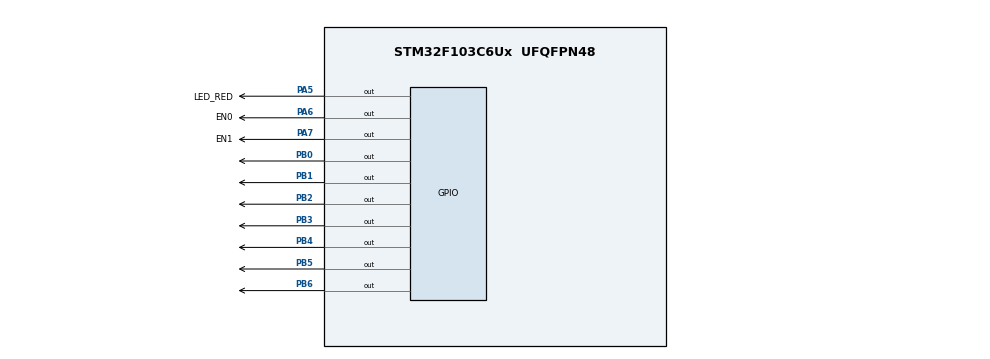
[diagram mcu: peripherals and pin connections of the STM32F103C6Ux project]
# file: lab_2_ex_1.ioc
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Mcu.Family=STM32F1
Mcu.Name=STM32F103C6Ux
Mcu.Package=UFQFPN48
NVIC.PriorityGroup=NVIC_PRIORITYGROUP_4
NVIC.TIM2_IRQn=true\:0\:0\:false\:false\:true\:true\:true\:true
PA5.GPIO_Label=LED_RED
PA5.Signal=GPIO_Output
PA6.GPIO_Label=EN0
PA6.Signal=GPIO_Output
PA7.GPIO_Label=EN1
PA7.Signal=GPIO_Output
PB0.Signal=GPIO_Output
PB1.Signal=GPIO_Output
PB2.Signal=GPIO_Output
PB3.Signal=GPIO_Output
PB4.Signal=GPIO_Output
PB5.Signal=GPIO_Output
PB6.Signal=GPIO_Output
ProjectManager.HeapSize=0x200
ProjectManager.StackSize=0x400
ProjectManager.TargetToolchain=STM32CubeIDE
RCC.APB1Freq_Value=8000000
RCC.APB2Freq_Value=8000000
TIM2.Period=9
TIM2.Prescaler=7999
VP_TIM2_VS_ClockSourceINT.Mode=Internal
board=custom

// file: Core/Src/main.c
/* USER CODE BEGIN Header */
/**
  ******************************************************************************
  * @file           : main.c
  * @brief          : Main program body
  ******************************************************************************
  * @attention
  *
  * Copyright (c) 2024 STMicroelectronics.
  * All rights reserved.
  *
  * This software is licensed under terms that can be found in the LICENSE file
  * in the root directory of this software component.
  * If no LICENSE file comes with this software, it is provided AS-IS.
  *
  ******************************************************************************
  */
/* USER CODE END Header */
#include "main.h"

TIM_HandleTypeDef htim2;

void SystemClock_Config(void);
static void MX_GPIO_Init(void);
static void MX_TIM2_Init(void);
/* USER CODE BEGIN PFP */
void display7SEG(int num);
/* USER CODE END PFP */

int main(void)
{

  /* MCU Configuration--------------------------------------------------------*/

  /* Reset of all peripherals, Initializes the Flash interface and the Systick. */
  HAL_Init();

  /* Configure the system clock */
  SystemClock_Config();

  /* Initialize all configured peripherals */
  MX_GPIO_Init();
  MX_TIM2_Init();
  /* USER CODE BEGIN 2 */
  HAL_TIM_Base_Start_IT(&htim2);
  /* USER CODE END 2 */

  /* Infinite loop */
  while (1)
  {

  }
}

void SystemClock_Config(void)
{
  RCC_OscInitTypeDef RCC_OscInitStruct = {0};
  RCC_ClkInitTypeDef RCC_ClkInitStruct = {0};

  /** Initializes the RCC Oscillators according to the specified parameters
  * in the RCC_OscInitTypeDef structure.
  */
  RCC_OscInitStruct.OscillatorType = RCC_OSCILLATORTYPE_HSI;
  RCC_OscInitStruct.HSIState = RCC_HSI_ON;
  RCC_OscInitStruct.HSICalibrationValue = RCC_HSICALIBRATION_DEFAULT;
  RCC_OscInitStruct.PLL.PLLState = RCC_PLL_NONE;
  if (HAL_RCC_OscConfig(&RCC_OscInitStruct) != HAL_OK)
  {
    Error_Handler();
  }

  /** Initializes the CPU, AHB and APB buses clocks
  */
  RCC_ClkInitStruct.ClockType = RCC_CLOCKTYPE_HCLK|RCC_CLOCKTYPE_SYSCLK
                              |RCC_CLOCKTYPE_PCLK1|RCC_CLOCKTYPE_PCLK2;
  RCC_ClkInitStruct.SYSCLKSource = RCC_SYSCLKSOURCE_HSI;
  RCC_ClkInitStruct.AHBCLKDivider = RCC_SYSCLK_DIV1;
  RCC_ClkInitStruct.APB1CLKDivider = RCC_HCLK_DIV1;
  RCC_ClkInitStruct.APB2CLKDivider = RCC_HCLK_DIV1;

  if (HAL_RCC_ClockConfig(&RCC_ClkInitStruct, FLASH_LATENCY_0) != HAL_OK)
  {
    Error_Handler();
  }
}

static void MX_TIM2_Init(void)
{

  TIM_ClockConfigTypeDef sClockSourceConfig = {0};
  TIM_MasterConfigTypeDef sMasterConfig = {0};

  htim2.Instance = TIM2;
  htim2.Init.Prescaler = 7999;
  htim2.Init.CounterMode = TIM_COUNTERMODE_UP;
  htim2.Init.Period = 9;
  htim2.Init.ClockDivision = TIM_CLOCKDIVISION_DIV1;
  htim2.Init.AutoReloadPreload = TIM_AUTORELOAD_PRELOAD_DISABLE;
  if (HAL_TIM_Base_Init(&htim2) != HAL_OK)
  {
    Error_Handler();
  }
  sClockSourceConfig.ClockSource = TIM_CLOCKSOURCE_INTERNAL;
  if (HAL_TIM_ConfigClockSource(&htim2, &sClockSourceConfig) != HAL_OK)
  {
    Error_Handler();
  }
  sMasterConfig.MasterOutputTrigger = TIM_TRGO_RESET;
  sMasterConfig.MasterSlaveMode = TIM_MASTERSLAVEMODE_DISABLE;
  if (HAL_TIMEx_MasterConfigSynchronization(&htim2, &sMasterConfig) != HAL_OK)
  {
    Error_Handler();
  }

}

static void MX_GPIO_Init(void)
{
  GPIO_InitTypeDef GPIO_InitStruct = {0};

  /* GPIO Ports Clock Enable */
  __HAL_RCC_GPIOA_CLK_ENABLE();
  __HAL_RCC_GPIOB_CLK_ENABLE();

  /*Configure GPIO pin Output Level */
  HAL_GPIO_WritePin(GPIOA, LED_RED_Pin|EN0_Pin|EN1_Pin, GPIO_PIN_RESET);

  /*Configure GPIO pin Output Level */
  HAL_GPIO_WritePin(GPIOB, GPIO_PIN_0|GPIO_PIN_1|GPIO_PIN_2|GPIO_PIN_3
                          |GPIO_PIN_4|GPIO_PIN_5|GPIO_PIN_6, GPIO_PIN_RESET);

  /*Configure GPIO pins : LED_RED_Pin EN0_Pin EN1_Pin */
  GPIO_InitStruct.Pin = LED_RED_Pin|EN0_Pin|EN1_Pin;
  GPIO_InitStruct.Mode = GPIO_MODE_OUTPUT_PP;
  GPIO_InitStruct.Pull = GPIO_NOPULL;
  GPIO_InitStruct.Speed = GPIO_SPEED_FREQ_LOW;
  HAL_GPIO_Init(GPIOA, &GPIO_InitStruct);

  /*Configure GPIO pins : PB0 PB1 PB2 PB3
                           PB4 PB5 PB6 */
  GPIO_InitStruct.Pin = GPIO_PIN_0|GPIO_PIN_1|GPIO_PIN_2|GPIO_PIN_3
                          |GPIO_PIN_4|GPIO_PIN_5|GPIO_PIN_6;
  GPIO_InitStruct.Mode = GPIO_MODE_OUTPUT_PP;
  GPIO_InitStruct.Pull = GPIO_NOPULL;
  GPIO_InitStruct.Speed = GPIO_SPEED_FREQ_LOW;
  HAL_GPIO_Init(GPIOB, &GPIO_InitStruct);

}

/* USER CODE BEGIN 4 */
int seven_segment_counter = 0;
int seven_segment_EN_state = 0;

void HAL_TIM_PeriodElapsedCallback(TIM_HandleTypeDef *htim){
	seven_segment_counter--;
	if (seven_segment_counter <= 0){
		seven_segment_counter = 50;

		switch (seven_segment_EN_state){
		case 0:
			HAL_GPIO_WritePin(EN0_GPIO_Port, EN0_Pin, RESET);
			HAL_GPIO_WritePin(EN1_GPIO_Port, EN1_Pin, SET);
			display7SEG(1);

			seven_segment_EN_state = 1;
			break;
		case 1:
			HAL_GPIO_WritePin(EN0_GPIO_Port, EN0_Pin, SET);
			HAL_GPIO_WritePin(EN1_GPIO_Port, EN1_Pin, RESET);
			display7SEG(2);

			seven_segment_EN_state = 0;
			break;
		}
	}
}

void display7SEG(int num)
{
	HAL_GPIO_WritePin(GPIOB, GPIO_PIN_All, SET);

	switch(num){
	case 0:
		HAL_GPIO_WritePin(GPIOB, GPIO_PIN_0, RESET);
		HAL_GPIO_WritePin(GPIOB, GPIO_PIN_1, RESET);
		HAL_GPIO_WritePin(GPIOB, GPIO_PIN_2, RESET);
		HAL_GPIO_WritePin(GPIOB, GPIO_PIN_3, RESET);
		HAL_GPIO_WritePin(GPIOB, GPIO_PIN_4, RESET);
		HAL_GPIO_WritePin(GPIOB, GPIO_PIN_5, RESET);
		break;
	case 1:
		HAL_GPIO_WritePin(GPIOB, GPIO_PIN_1, RESET);
		HAL_GPIO_WritePin(GPIOB, GPIO_PIN_2, RESET);
		break;
	case 2:
		HAL_GPIO_WritePin(GPIOB, GPIO_PIN_0, RESET);
		HAL_GPIO_WritePin(GPIOB, GPIO_PIN_1, RESET);
		HAL_GPIO_WritePin(GPIOB, GPIO_PIN_3, RESET);
		HAL_GPIO_WritePin(GPIOB, GPIO_PIN_4, RESET);
		HAL_GPIO_WritePin(GPIOB, GPIO_PIN_6, RESET);
		break;
	case 3:
		HAL_GPIO_WritePin(GPIOB, GPIO_PIN_0, RESET);
		HAL_GPIO_WritePin(GPIOB, GPIO_PIN_1, RESET);
		HAL_GPIO_WritePin(GPIOB, GPIO_PIN_2, RESET);
		HAL_GPIO_WritePin(GPIOB, GPIO_PIN_3, RESET);
		HAL_GPIO_WritePin(GPIOB, GPIO_PIN_6, RESET);
		break;
	case 4:
		HAL_GPIO_WritePin(GPIOB, GPIO_PIN_1, RESET);
		HAL_GPIO_WritePin(GPIOB, GPIO_PIN_2, RESET);
		HAL_GPIO_WritePin(GPIOB, GPIO_PIN_5, RESET);
		HAL_GPIO_WritePin(GPIOB, GPIO_PIN_6, RESET);
		break;
	case 5:
		HAL_GPIO_WritePin(GPIOB, GPIO_PIN_0, RESET);
		HAL_GPIO_WritePin(GPIOB, GPIO_PIN_2, RESET);
		HAL_GPIO_WritePin(GPIOB, GPIO_PIN_3, RESET);
		HAL_GPIO_WritePin(GPIOB, GPIO_PIN_5, RESET);
		HAL_GPIO_WritePin(GPIOB, GPIO_PIN_6, RESET);
		break;
	case 6:
		HAL_GPIO_WritePin(GPIOB, GPIO_PIN_0, RESET);
		HAL_GPIO_WritePin(GPIOB, GPIO_PIN_2, RESET);
		HAL_GPIO_WritePin(GPIOB, GPIO_PIN_3, RESET);
		HAL_GPIO_WritePin(GPIOB, GPIO_PIN_4, RESET);
		HAL_GPIO_WritePin(GPIOB, GPIO_PIN_5, RESET);
		HAL_GPIO_WritePin(GPIOB, GPIO_PIN_6, RESET);
		break;
	case 7:
		HAL_GPIO_WritePin(GPIOB, GPIO_PIN_0, RESET);
		HAL_GPIO_WritePin(GPIOB, GPIO_PIN_1, RESET);
		HAL_GPIO_WritePin(GPIOB, GPIO_PIN_2, RESET);
		break;
	case 8:
		HAL_GPIO_WritePin(GPIOB, GPIO_PIN_0, RESET);
		HAL_GPIO_WritePin(GPIOB, GPIO_PIN_1, RESET);
		HAL_GPIO_WritePin(GPIOB, GPIO_PIN_2, RESET);
		HAL_GPIO_WritePin(GPIOB, GPIO_PIN_3, RESET);
		HAL_GPIO_WritePin(GPIOB, GPIO_PIN_4, RESET);
		HAL_GPIO_WritePin(GPIOB, GPIO_PIN_5, RESET);
		HAL_GPIO_WritePin(GPIOB, GPIO_PIN_6, RESET);
		break;
	case 9:
		HAL_GPIO_WritePin(GPIOB, GPIO_PIN_0, RESET);
		HAL_GPIO_WritePin(GPIOB, GPIO_PIN_1, RESET);
		HAL_GPIO_WritePin(GPIOB, GPIO_PIN_2, RESET);
		HAL_GPIO_WritePin(GPIOB, GPIO_PIN_3, RESET);
		HAL_GPIO_WritePin(GPIOB, GPIO_PIN_5, RESET);
		HAL_GPIO_WritePin(GPIOB, GPIO_PIN_6, RESET);
		break;
	}
}
/* USER CODE END 4 */

void Error_Handler(void)
{
  __disable_irq();
  while (1)
  {
  }
}
